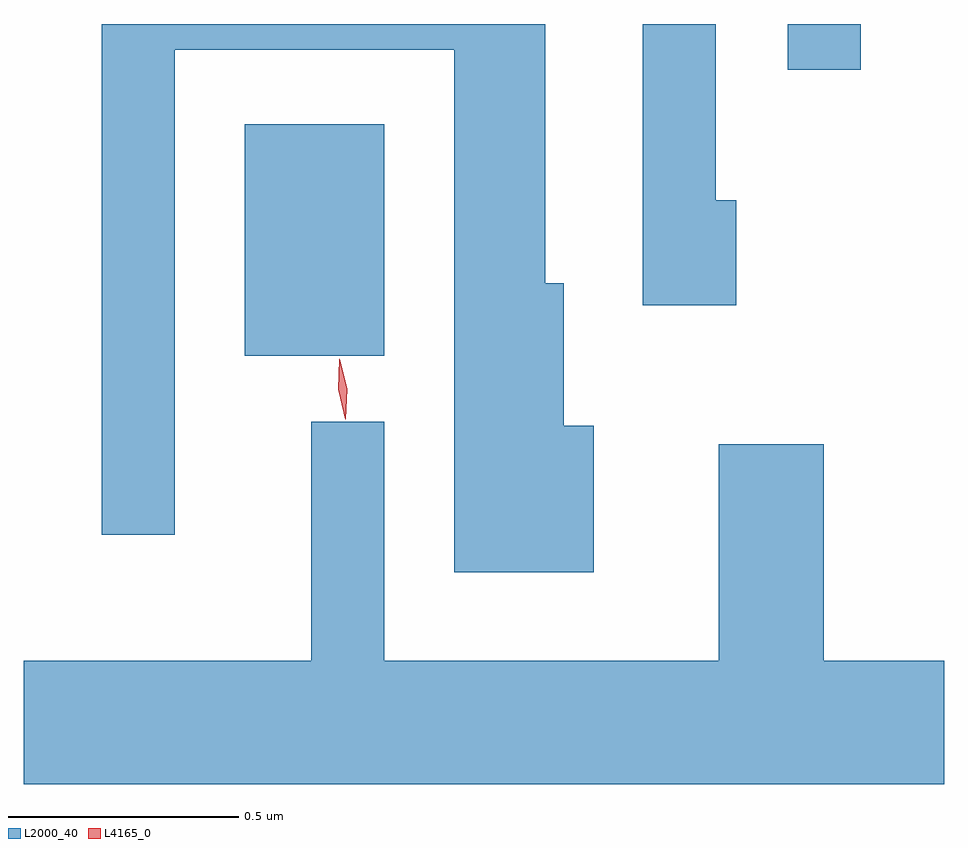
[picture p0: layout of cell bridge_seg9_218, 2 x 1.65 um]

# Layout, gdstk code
import gdstk
lib = gdstk.Library(unit=1e-6, precision=1e-09)
def R(c, l, rs):  # rectangles x0, y0, x1, y1
    for r in rs: c.add(gdstk.rectangle(r[:2], r[2:], *l))
def P(c, l, *ps):  # polygons
    for p in ps: c.add(gdstk.Polygon(p, *l))
L2000_40 = (2000, 40)
L4165_0 = (4165, 0)

bridge_seg9_218 = lib.new_cell('bridge_seg9_218')
R(bridge_seg9_218, L2000_40, [(1127.261,1952.786,1127.564,1953.289), (1128.441,1953.408,1128.599,1953.507)])
P(bridge_seg9_218, L2000_40, [(1128.019,1952.634),(1127.954,1952.634),(1127.954,1952.944),(1127.914,1952.944),(1127.914,1953.507),(1126.951,1953.507),(1126.951,1952.398),(1127.109,1952.398),(1127.109,1953.451),(1127.716,1953.451),(1127.716,1952.316),(1128.019,1952.316)],
  [(1128.329,1953.124),(1128.284,1953.124),(1128.284,1953.507),(1128.126,1953.507),(1128.126,1952.896),(1128.329,1952.896)],
  [(1128.781,1952.124),(1128.519,1952.124),(1128.519,1952.594),(1128.291,1952.594),(1128.291,1952.124),(1127.564,1952.124),(1127.564,1952.643),(1127.406,1952.643),(1127.406,1952.124),(1126.781,1952.124),(1126.781,1951.856),(1128.781,1951.856)])
P(bridge_seg9_218, L4165_0, [(1127.48,1952.648),(1127.48,1952.648),(1127.464,1952.713),(1127.467,1952.779),(1127.467,1952.78),(1127.468,1952.779),(1127.484,1952.715),(1127.481,1952.648)])

lib.write_gds('bridge_seg9_218.gds')
